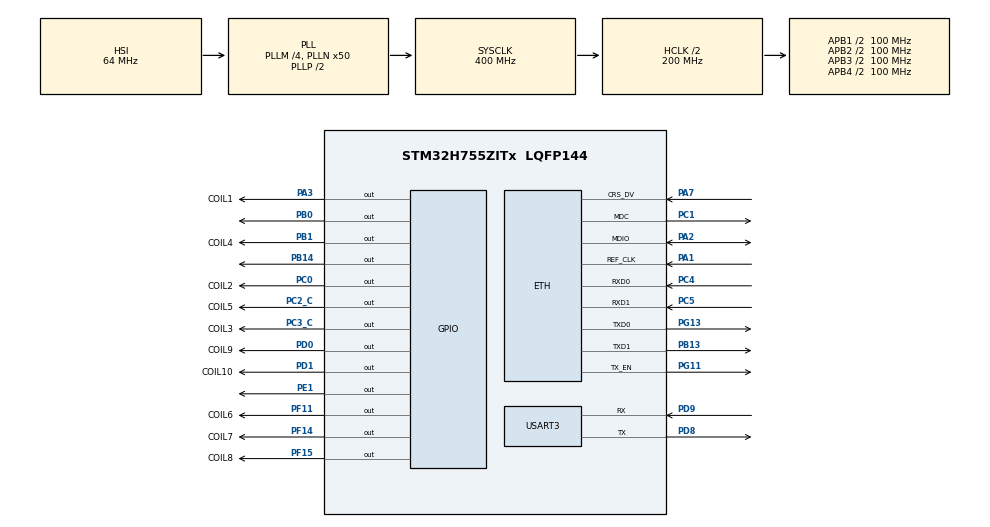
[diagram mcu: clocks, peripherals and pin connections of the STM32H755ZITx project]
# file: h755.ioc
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CortexM4.IPs=BDMA,CORTEX_M4\:I,DEBUG,DMA,FATFS_M4\:I,FREERTOS_M4\:I,GPIO,IWDG2\:I,MDMA,NVIC2\:I,OPENAMP_M4\:I,PDM2PCM_M4\:I,PWR,RCC,RESMGR_UTILITY,SYS_M4\:I,USB_DEVICE_M4\:I,USB_HOST_M4\:I,VREFBUF,WWDG2\:I
CortexM7.IPs=BDMA\:I,CORTEX_M7\:I,DEBUG\:I,DMA\:I,FATFS_M7\:I,FREERTOS_M7\:I,GPIO\:I,IWDG1\:I,MDMA\:I,NVIC1\:I,OPENAMP_M7\:I,PDM2PCM_M7\:I,PWR\:I,RCC\:I,RESMGR_UTILITY\:I,SYS\:I,USB_DEVICE_M7\:I,USB_HOST_M7\:I,VREFBUF\:I,WWDG1\:I,ETH\:I,USART3\:I,RNG\:I
CortexM7.Pins=PC0,PC2_C,PC3_C,PA3,PB1,PF11,PF14,PF15,PD0,PD1
ETH.MediaInterface=HAL_ETH_RMII_MODE
Mcu.Family=STM32H7
Mcu.Name=STM32H755ZITx
Mcu.Package=LQFP144
NVIC1.ETH_IRQn=true\:0\:0\:false\:false\:false\:true\:false\:true
NVIC1.PriorityGroup=NVIC_PRIORITYGROUP_4
NVIC2.PriorityGroup=NVIC_PRIORITYGROUP_4
PA1.Mode=RMII
PA1.PinAttribute=CortexM7
PA1.Signal=ETH_REF_CLK
PA2.Mode=RMII
PA2.PinAttribute=CortexM7
PA2.Signal=ETH_MDIO
PA3.GPIO_Label=COIL1
PA3.PinAttribute=CortexM7
PA3.Signal=GPIO_Output
PA7.Mode=RMII
PA7.PinAttribute=CortexM7
PA7.Signal=ETH_CRS_DV
PB0.PinAttribute=Free
PB0.Signal=GPIO_Output
PB1.GPIO_Label=COIL4
PB1.PinAttribute=CortexM7
PB1.Signal=GPIO_Output
PB13.Mode=RMII
PB13.PinAttribute=CortexM7
PB13.Signal=ETH_TXD1
PB14.PinAttribute=Free
PB14.Signal=GPIO_Output
PC0.GPIO_Label=COIL2
PC0.PinAttribute=CortexM7
PC0.Signal=GPIO_Output
PC1.Mode=RMII
PC1.PinAttribute=CortexM7
PC1.Signal=ETH_MDC
PC2_C.GPIO_Label=COIL5
PC2_C.PinAttribute=CortexM7
PC2_C.Signal=GPIO_Output
PC3_C.GPIO_Label=COIL3
PC3_C.PinAttribute=CortexM7
PC3_C.Signal=GPIO_Output
PC4.Mode=RMII
PC4.PinAttribute=CortexM7
PC4.Signal=ETH_RXD0
PC5.Mode=RMII
PC5.PinAttribute=CortexM7
PC5.Signal=ETH_RXD1
PD0.GPIO_Label=COIL9
PD0.PinAttribute=CortexM7
PD0.Signal=GPIO_Output
PD1.GPIO_Label=COIL10
PD1.PinAttribute=CortexM7
PD1.Signal=GPIO_Output
PD8.Mode=Asynchronous
PD8.PinAttribute=CortexM7
PD8.Signal=USART3_TX
PD9.Mode=Asynchronous
PD9.PinAttribute=CortexM7
PD9.Signal=USART3_RX
PE1.PinAttribute=Free
PE1.Signal=GPIO_Output
PF11.GPIO_Label=COIL6
PF11.PinAttribute=CortexM7
PF11.Signal=GPIO_Output
PF14.GPIO_Label=COIL7
PF14.PinAttribute=CortexM7
PF14.Signal=GPIO_Output
PF15.GPIO_Label=COIL8
PF15.PinAttribute=CortexM7
PF15.Signal=GPIO_Output
PG11.Mode=RMII
PG11.PinAttribute=CortexM7
PG11.Signal=ETH_TX_EN
PG13.Mode=RMII
PG13.PinAttribute=CortexM7
PG13.Signal=ETH_TXD0
ProjectManager.HeapSize=M4-0x200,M7-0x200
ProjectManager.StackSize=M4-0x400,M7-0x400
ProjectManager.TargetToolchain=STM32CubeIDE
RCC.ADCFreq_Value=129000000
RCC.APB1Freq_Value=100000000
RCC.APB2Freq_Value=100000000
RCC.APB3Freq_Value=100000000
RCC.APB4Freq_Value=100000000
RCC.CortexFreq_Value=400000000
RCC.D1PPRE=RCC_APB3_DIV2
RCC.D2PPRE1=RCC_APB1_DIV2
RCC.D2PPRE2=RCC_APB2_DIV2
RCC.D3PPRE=RCC_APB4_DIV2
RCC.DIVM1=4
RCC.DIVN1=50
RCC.HCLKFreq_Value=200000000
RCC.HPRE=RCC_HCLK_DIV2
RCC.PLL2FRACN=0
RCC.PLL3FRACN=0
RCC.PLLFRACN=0
RCC.SYSCLKFreq_VALUE=400000000
RCC.SYSCLKSource=RCC_SYSCLKSOURCE_PLLCLK
RCC.USBFreq_Value=400000000
SYS.userName=SYS_M7
USART3.VirtualMode-Asynchronous=VM_ASYNC
VP_RNG_VS_RNG.Mode=RNG_Activate
VP_SYS_M4_VS_Systick.Mode=SysTick
board=custom

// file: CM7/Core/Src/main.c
/* USER CODE BEGIN Header */
/**
  ******************************************************************************
  * @file           : main.c
  * @brief          : Main program body
  ******************************************************************************
  * @attention
  *
  * Copyright (c) 2024 STMicroelectronics.
  * All rights reserved.
  *
  * This software is licensed under terms that can be found in the LICENSE file
  * in the root directory of this software component.
  * If no LICENSE file comes with this software, it is provided AS-IS.
  *
  ******************************************************************************
  */
/* USER CODE END Header */
#include "main.h"
#include "string.h"

/* USER CODE BEGIN Includes */
#include "mongoose_glue.h"
/* USER CODE END Includes */

/* USER CODE BEGIN PD */

#ifndef HSEM_ID_0
#define HSEM_ID_0 (0U) /* HW semaphore 0*/
#endif

/* USER CODE END PD */

#if defined ( __ICCARM__ ) /*!< IAR Compiler */
#pragma location=0x30000000
ETH_DMADescTypeDef  DMARxDscrTab[ETH_RX_DESC_CNT]; /* Ethernet Rx DMA Descriptors */
#pragma location=0x30000080
ETH_DMADescTypeDef  DMATxDscrTab[ETH_TX_DESC_CNT]; /* Ethernet Tx DMA Descriptors */

#elif defined ( __CC_ARM )  /* MDK ARM Compiler */

__attribute__((at(0x30000000))) ETH_DMADescTypeDef  DMARxDscrTab[ETH_RX_DESC_CNT]; /* Ethernet Rx DMA Descriptors */
__attribute__((at(0x30000080))) ETH_DMADescTypeDef  DMATxDscrTab[ETH_TX_DESC_CNT]; /* Ethernet Tx DMA Descriptors */

#elif defined ( __GNUC__ ) /* GNU Compiler */

ETH_DMADescTypeDef DMARxDscrTab[ETH_RX_DESC_CNT] __attribute__((section(".RxDescripSection"))); /* Ethernet Rx DMA Descriptors */
ETH_DMADescTypeDef DMATxDscrTab[ETH_TX_DESC_CNT] __attribute__((section(".TxDescripSection")));   /* Ethernet Tx DMA Descriptors */
#endif

ETH_TxPacketConfig TxConfig;

ETH_HandleTypeDef heth;

RNG_HandleTypeDef hrng;

UART_HandleTypeDef huart3;

void SystemClock_Config(void);
static void MX_GPIO_Init(void);
static void MX_ETH_Init(void);
static void MX_RNG_Init(void);
static void MX_USART3_UART_Init(void);

/* USER CODE BEGIN 0 */
bool mg_random(void *buf, size_t len) {  // Use on-board RNG
  for (size_t n = 0; n < len; n += sizeof(uint32_t)) {
    uint32_t r;
    HAL_RNG_GenerateRandomNumber(&hrng, &r);
    memcpy((char *) buf + n, &r, n + sizeof(r) > len ? len - n : sizeof(r));
  }
  return true; // TODO(): ensure successful RNG init, then return on false above
}

uint64_t mg_millis(void) {
  return HAL_GetTick();
}

int _write(int fd, unsigned char *buf, int len) {
  if (fd == 1 || fd == 2) {                     // stdout or stderr ?
    HAL_UART_Transmit(&huart3, buf, len, 999);  // Print to the UART
  }
  return len;
}

/*************** INPUTS *********************/

//typedef struct {
//	GPIO_TypeDef *port;
//	uint16_t pin;
//}input_t;
//
//
//input_t inputs[] ={
//		{INPUT1_GPIO_Port, INPUT1_Pin},
//		{INPUT2_GPIO_Port, INPUT2_Pin},
//		{INPUT3_GPIO_Port, INPUT3_Pin},
//		{INPUT4_GPIO_Port, INPUT4_Pin},
//		{INPUT5_GPIO_Port, INPUT5_Pin},
//		{INPUT6_GPIO_Port, INPUT6_Pin},
//		{INPUT7_GPIO_Port, INPUT7_Pin},
//		{INPUT8_GPIO_Port, INPUT8_Pin},
//		{INPUT9_GPIO_Port, INPUT9_Pin},
//		{INPUT10_GPIO_Port, INPUT10_Pin},
//};
//
//
//bool READ_INPUTS (uint16_t i)
//{
//	return (HAL_GPIO_ReadPin(inputs[i].port, inputs[i].pin));
//}
//
//void my_modbus_handler(struct mg_modbus_req *req) {
//  if (req->func == MG_MODBUS_FUNC_READ_DISCRETE_INPUTS) {
//    for (uint16_t i = 0; i < req->len; i++) {
//      req->u.bits[i] = READ_INPUTS(i);
//    }
//  }
//  else {
//    req->error = MG_MODBUS_ERR_DEVICE_FAILURE;
//  }
//}
//
//
//static struct inputs dis_inputs[] = {
//  {false},{false},{false},{false},{false},{false},{false},{false},{false},{false},
//};
//
//bool my_get_inputs(struct inputs *data, size_t i) {
//  size_t array_size = sizeof(dis_inputs) / sizeof(dis_inputs[0]);
//  if (i >= array_size) return false;
//
//  for (int j =0; j<array_size; j++)
//  {
//	  dis_inputs[j].level = READ_INPUTS(j);
//  }
//  *data = dis_inputs[i];  // Sync with your device
//  return true;
//}

/*************** COILS *********************/

uint8_t Coils_Data[2] = {0x00, 0x00};

typedef struct {
	GPIO_TypeDef *port;
	uint16_t pin;
}coil_t;

coil_t coils[] ={
		{COIL1_GPIO_Port, COIL1_Pin},
		{COIL2_GPIO_Port, COIL2_Pin},
		{COIL3_GPIO_Port, COIL3_Pin},
		{COIL4_GPIO_Port, COIL4_Pin},
		{COIL5_GPIO_Port, COIL5_Pin},
		{COIL6_GPIO_Port, COIL6_Pin},
		{COIL7_GPIO_Port, COIL7_Pin},
		{COIL8_GPIO_Port, COIL8_Pin},
		{COIL9_GPIO_Port, COIL9_Pin},
		{COIL10_GPIO_Port, COIL10_Pin},
};

bool READ_COIL (uint16_t i)
{
	uint16_t startByte = i/8;
	uint8_t bitPosition = i%8;

	bool val = (Coils_Data[startByte] >> bitPosition) & 0x01;
	return val;
}

void WRITE_COIL (uint16_t i, bool val)
{
	uint16_t startByte = i/8;
	uint8_t bitPosition = i%8;

	if (val == true) Coils_Data[startByte] |= 1<<bitPosition;
	else Coils_Data[startByte] &= ~(1<<bitPosition);

	HAL_GPIO_WritePin(coils[i].port, coils[i].pin, val);
}

void my_modbus_handler(struct mg_modbus_req *req) {

  if (req->func == MG_MODBUS_FUNC_READ_COILS) {
    for (uint16_t i = 0; i < req->len; i++) {
      req->u.bits[i] = READ_COIL(req->addr + i);
    }
  }

  else if (req->func == MG_MODBUS_FUNC_WRITE_SINGLE_COIL) {
        WRITE_COIL(req->addr, req->u.bits[0]);
  }

  else if (req->func == MG_MODBUS_FUNC_WRITE_MULTIPLE_COILS) {
    for (uint16_t i = 0; i < req->len; i++) {
      WRITE_COIL(req->addr + i, req->u.bits[i]);
    }
  } else {
    req->error = MG_MODBUS_ERR_DEVICE_FAILURE;
  }
}

static struct coils my_coils[] = {
  {false},{false},{false},{false},{false},{false},{false},{false},{false},{false},
};

bool my_get_coils(struct coils *data, size_t i) {
  size_t array_size = sizeof(my_coils) / sizeof(my_coils[0]);
  if (i >= array_size) return false;

  for (int j=0; j<array_size; j++) my_coils[j].level = READ_COIL(j);

  *data = my_coils[i];  // Sync with your device
  return true;
}

void my_set_coils(struct coils *data, size_t i) {
  size_t array_size = sizeof(my_coils) / sizeof(my_coils[0]);
  if (i < array_size) my_coils[i] = *data; // Sync with your device

  for (int j=0; j<array_size; j++) WRITE_COIL(j, my_coils[j].level);

}

/* USER CODE END 0 */

int main(void)
{

/* USER CODE BEGIN Boot_Mode_Sequence_0 */
//  int32_t timeout;
/* USER CODE END Boot_Mode_Sequence_0 */

/* USER CODE BEGIN Boot_Mode_Sequence_1 */
  /* Wait until CPU2 boots and enters in stop mode or timeout*/
//  timeout = 0xFFFF;
//  while((__HAL_RCC_GET_FLAG(RCC_FLAG_D2CKRDY) != RESET) && (timeout-- > 0));
//  if ( timeout < 0 )
//  {
//  Error_Handler();
//  }
/* USER CODE END Boot_Mode_Sequence_1 */
  /* MCU Configuration--------------------------------------------------------*/

  /* Reset of all peripherals, Initializes the Flash interface and the Systick. */
  HAL_Init();

  /* Configure the system clock */
  SystemClock_Config();
/* USER CODE BEGIN Boot_Mode_Sequence_2 */
/* When system initialization is finished, Cortex-M7 will release Cortex-M4 by means of
HSEM notification */
/*HW semaphore Clock enable*/
//__HAL_RCC_HSEM_CLK_ENABLE();
///*Take HSEM */
//HAL_HSEM_FastTake(HSEM_ID_0);
///*Release HSEM in order to notify the CPU2(CM4)*/
//HAL_HSEM_Release(HSEM_ID_0,0);
///* wait until CPU2 wakes up from stop mode */
//timeout = 0xFFFF;
//while((__HAL_RCC_GET_FLAG(RCC_FLAG_D2CKRDY) == RESET) && (timeout-- > 0));
//if ( timeout < 0 )
//{
//Error_Handler();
//}
/* USER CODE END Boot_Mode_Sequence_2 */

  /* Initialize all configured peripherals */
  MX_GPIO_Init();
  MX_ETH_Init();
  MX_RNG_Init();
  MX_USART3_UART_Init();
  /* USER CODE BEGIN 2 */
  mongoose_init();
  mongoose_set_modbus_handler(my_modbus_handler);
  mongoose_set_http_handlers("coils", my_get_coils, my_set_coils);
  mongoose_add_ws_reporter(200, "coils");
  for (;;) {
    mongoose_poll();
  }
  /* USER CODE END 2 */

  /* Infinite loop */
  while (1)
  {

  }
}

void SystemClock_Config(void)
{
  RCC_OscInitTypeDef RCC_OscInitStruct = {0};
  RCC_ClkInitTypeDef RCC_ClkInitStruct = {0};

  /** Supply configuration update enable
  */
  HAL_PWREx_ConfigSupply(PWR_DIRECT_SMPS_SUPPLY);

  /** Configure the main internal regulator output voltage
  */
  __HAL_PWR_VOLTAGESCALING_CONFIG(PWR_REGULATOR_VOLTAGE_SCALE1);

  while(!__HAL_PWR_GET_FLAG(PWR_FLAG_VOSRDY)) {}

  /** Initializes the RCC Oscillators according to the specified parameters
  * in the RCC_OscInitTypeDef structure.
  */
  RCC_OscInitStruct.OscillatorType = RCC_OSCILLATORTYPE_HSI48|RCC_OSCILLATORTYPE_HSI;
  RCC_OscInitStruct.HSIState = RCC_HSI_DIV1;
  RCC_OscInitStruct.HSICalibrationValue = RCC_HSICALIBRATION_DEFAULT;
  RCC_OscInitStruct.HSI48State = RCC_HSI48_ON;
  RCC_OscInitStruct.PLL.PLLState = RCC_PLL_ON;
  RCC_OscInitStruct.PLL.PLLSource = RCC_PLLSOURCE_HSI;
  RCC_OscInitStruct.PLL.PLLM = 4;
  RCC_OscInitStruct.PLL.PLLN = 50;
  RCC_OscInitStruct.PLL.PLLP = 2;
  RCC_OscInitStruct.PLL.PLLQ = 2;
  RCC_OscInitStruct.PLL.PLLR = 2;
  RCC_OscInitStruct.PLL.PLLRGE = RCC_PLL1VCIRANGE_3;
  RCC_OscInitStruct.PLL.PLLVCOSEL = RCC_PLL1VCOWIDE;
  RCC_OscInitStruct.PLL.PLLFRACN = 0;
  if (HAL_RCC_OscConfig(&RCC_OscInitStruct) != HAL_OK)
  {
    Error_Handler();
  }

  /** Initializes the CPU, AHB and APB buses clocks
  */
  RCC_ClkInitStruct.ClockType = RCC_CLOCKTYPE_HCLK|RCC_CLOCKTYPE_SYSCLK
                              |RCC_CLOCKTYPE_PCLK1|RCC_CLOCKTYPE_PCLK2
                              |RCC_CLOCKTYPE_D3PCLK1|RCC_CLOCKTYPE_D1PCLK1;
  RCC_ClkInitStruct.SYSCLKSource = RCC_SYSCLKSOURCE_PLLCLK;
  RCC_ClkInitStruct.SYSCLKDivider = RCC_SYSCLK_DIV1;
  RCC_ClkInitStruct.AHBCLKDivider = RCC_HCLK_DIV2;
  RCC_ClkInitStruct.APB3CLKDivider = RCC_APB3_DIV2;
  RCC_ClkInitStruct.APB1CLKDivider = RCC_APB1_DIV2;
  RCC_ClkInitStruct.APB2CLKDivider = RCC_APB2_DIV2;
  RCC_ClkInitStruct.APB4CLKDivider = RCC_APB4_DIV2;

  if (HAL_RCC_ClockConfig(&RCC_ClkInitStruct, FLASH_LATENCY_2) != HAL_OK)
  {
    Error_Handler();
  }
}

static void MX_ETH_Init(void)
{

   static uint8_t MACAddr[6];

  heth.Instance = ETH;
  MACAddr[0] = 0x00;
  MACAddr[1] = 0x80;
  MACAddr[2] = 0xE1;
  MACAddr[3] = 0x00;
  MACAddr[4] = 0x00;
  MACAddr[5] = 0x00;
  heth.Init.MACAddr = &MACAddr[0];
  heth.Init.MediaInterface = HAL_ETH_RMII_MODE;
  heth.Init.TxDesc = DMATxDscrTab;
  heth.Init.RxDesc = DMARxDscrTab;
  heth.Init.RxBuffLen = 1536;

  if (HAL_ETH_Init(&heth) != HAL_OK)
  {
    Error_Handler();
  }

  memset(&TxConfig, 0 , sizeof(ETH_TxPacketConfig));
  TxConfig.Attributes = ETH_TX_PACKETS_FEATURES_CSUM | ETH_TX_PACKETS_FEATURES_CRCPAD;
  TxConfig.ChecksumCtrl = ETH_CHECKSUM_IPHDR_PAYLOAD_INSERT_PHDR_CALC;
  TxConfig.CRCPadCtrl = ETH_CRC_PAD_INSERT;

}

static void MX_RNG_Init(void)
{

  hrng.Instance = RNG;
  hrng.Init.ClockErrorDetection = RNG_CED_ENABLE;
  if (HAL_RNG_Init(&hrng) != HAL_OK)
  {
    Error_Handler();
  }

}

static void MX_USART3_UART_Init(void)
{

  huart3.Instance = USART3;
  huart3.Init.BaudRate = 115200;
  huart3.Init.WordLength = UART_WORDLENGTH_8B;
  huart3.Init.StopBits = UART_STOPBITS_1;
  huart3.Init.Parity = UART_PARITY_NONE;
  huart3.Init.Mode = UART_MODE_TX_RX;
  huart3.Init.HwFlowCtl = UART_HWCONTROL_NONE;
  huart3.Init.OverSampling = UART_OVERSAMPLING_16;
  huart3.Init.OneBitSampling = UART_ONE_BIT_SAMPLE_DISABLE;
  huart3.Init.ClockPrescaler = UART_PRESCALER_DIV1;
  huart3.AdvancedInit.AdvFeatureInit = UART_ADVFEATURE_NO_INIT;
  if (HAL_UART_Init(&huart3) != HAL_OK)
  {
    Error_Handler();
  }
  if (HAL_UARTEx_SetTxFifoThreshold(&huart3, UART_TXFIFO_THRESHOLD_1_8) != HAL_OK)
  {
    Error_Handler();
  }
  if (HAL_UARTEx_SetRxFifoThreshold(&huart3, UART_RXFIFO_THRESHOLD_1_8) != HAL_OK)
  {
    Error_Handler();
  }
  if (HAL_UARTEx_DisableFifoMode(&huart3) != HAL_OK)
  {
    Error_Handler();
  }

}

static void MX_GPIO_Init(void)
{
  GPIO_InitTypeDef GPIO_InitStruct = {0};

  /* GPIO Ports Clock Enable */
  __HAL_RCC_GPIOC_CLK_ENABLE();
  __HAL_RCC_GPIOA_CLK_ENABLE();
  __HAL_RCC_GPIOB_CLK_ENABLE();
  __HAL_RCC_GPIOF_CLK_ENABLE();
  __HAL_RCC_GPIOD_CLK_ENABLE();
  __HAL_RCC_GPIOG_CLK_ENABLE();

  /*Configure GPIO pin Output Level */
  HAL_GPIO_WritePin(GPIOC, COIL2_Pin|COIL5_Pin|COIL3_Pin, GPIO_PIN_RESET);

  /*Configure GPIO pin Output Level */
  HAL_GPIO_WritePin(COIL1_GPIO_Port, COIL1_Pin, GPIO_PIN_RESET);

  /*Configure GPIO pin Output Level */
  HAL_GPIO_WritePin(COIL4_GPIO_Port, COIL4_Pin, GPIO_PIN_RESET);

  /*Configure GPIO pin Output Level */
  HAL_GPIO_WritePin(GPIOF, COIL6_Pin|COIL7_Pin|COIL8_Pin, GPIO_PIN_RESET);

  /*Configure GPIO pin Output Level */
  HAL_GPIO_WritePin(GPIOD, COIL9_Pin|COIL10_Pin, GPIO_PIN_RESET);

  /*Configure GPIO pins : COIL2_Pin COIL5_Pin COIL3_Pin */
  GPIO_InitStruct.Pin = COIL2_Pin|COIL5_Pin|COIL3_Pin;
  GPIO_InitStruct.Mode = GPIO_MODE_OUTPUT_PP;
  GPIO_InitStruct.Pull = GPIO_NOPULL;
  GPIO_InitStruct.Speed = GPIO_SPEED_FREQ_LOW;
  HAL_GPIO_Init(GPIOC, &GPIO_InitStruct);

  /*Configure GPIO pin : COIL1_Pin */
  GPIO_InitStruct.Pin = COIL1_Pin;
  GPIO_InitStruct.Mode = GPIO_MODE_OUTPUT_PP;
  GPIO_InitStruct.Pull = GPIO_NOPULL;
  GPIO_InitStruct.Speed = GPIO_SPEED_FREQ_LOW;
  HAL_GPIO_Init(COIL1_GPIO_Port, &GPIO_InitStruct);

  /*Configure GPIO pin : COIL4_Pin */
  GPIO_InitStruct.Pin = COIL4_Pin;
  GPIO_InitStruct.Mode = GPIO_MODE_OUTPUT_PP;
  GPIO_InitStruct.Pull = GPIO_NOPULL;
  GPIO_InitStruct.Speed = GPIO_SPEED_FREQ_LOW;
  HAL_GPIO_Init(COIL4_GPIO_Port, &GPIO_InitStruct);

  /*Configure GPIO pins : COIL6_Pin COIL7_Pin COIL8_Pin */
  GPIO_InitStruct.Pin = COIL6_Pin|COIL7_Pin|COIL8_Pin;
  GPIO_InitStruct.Mode = GPIO_MODE_OUTPUT_PP;
  GPIO_InitStruct.Pull = GPIO_NOPULL;
  GPIO_InitStruct.Speed = GPIO_SPEED_FREQ_LOW;
  HAL_GPIO_Init(GPIOF, &GPIO_InitStruct);

  /*Configure GPIO pins : COIL9_Pin COIL10_Pin */
  GPIO_InitStruct.Pin = COIL9_Pin|COIL10_Pin;
  GPIO_InitStruct.Mode = GPIO_MODE_OUTPUT_PP;
  GPIO_InitStruct.Pull = GPIO_NOPULL;
  GPIO_InitStruct.Speed = GPIO_SPEED_FREQ_LOW;
  HAL_GPIO_Init(GPIOD, &GPIO_InitStruct);

  /*AnalogSwitch Config */
  HAL_SYSCFG_AnalogSwitchConfig(SYSCFG_SWITCH_PC2, SYSCFG_SWITCH_PC2_CLOSE);

  /*AnalogSwitch Config */
  HAL_SYSCFG_AnalogSwitchConfig(SYSCFG_SWITCH_PC3, SYSCFG_SWITCH_PC3_CLOSE);

}

void Error_Handler(void)
{
  __disable_irq();
  while (1)
  {
  }
}
